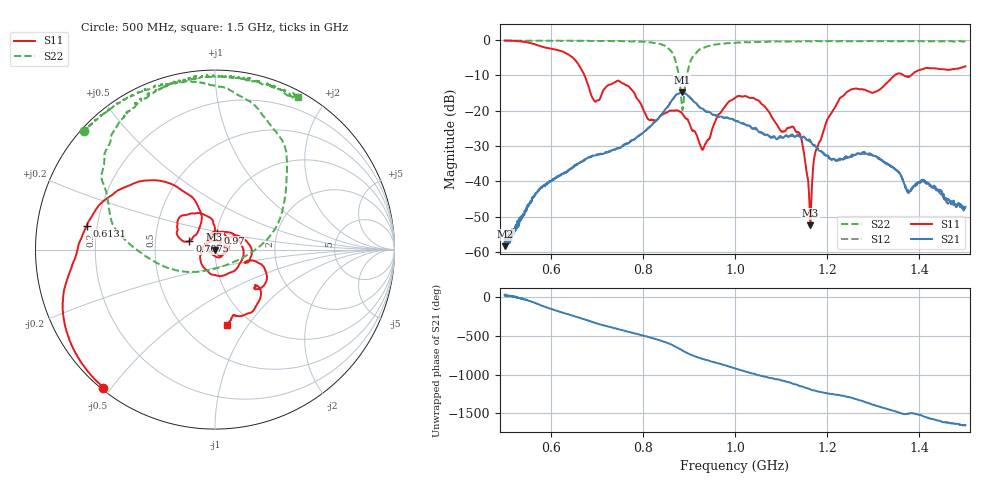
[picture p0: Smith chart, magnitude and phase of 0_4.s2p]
!Agilent Technologies,E8364B,US42250235,A.06.04.32
!Agilent E8364B: A.06.04.32
!Date: Friday, January 15, 2021 13:49:57
!Correction: S11(Full 2 Port(1,2)) S21(Full 2 Port(1,2)) S12(Full 2 Port(1,2)) S22(Full 2 Port(1,2))
!S2P File: Measurements: S11, S21, S12, S22:
# Hz S  dB  R 50
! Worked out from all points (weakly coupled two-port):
!   1601 points, 500 MHz to 1.5 GHz, reference 50 ohm
!   highest |S21| = -14.81 dB at 885 MHz (marker M1); lowest = -58.4 dB at 501.2 MHz (marker M2)
!   lowest |S11| = -52.5 dB at 1.164 GHz (marker M3), VSWR 1.00, Z = 49.8 + j0.0357 ohm
!   |S11| at or under -10 dB: 673.5 MHz to 1.346 GHz (672.8 MHz wide, 66.6 % of centre); 1.366 GHz to 1.382 GHz (15.64 MHz wide, 1.14 % of centre)
!   |S22| runs from -19.8 to -0.1 dB; largest |S21 - S12| = 0.0047
!   S11 on the Smith chart (normalised r, x): 500 MHz: 0.01, -0.48; 613.1 MHz: 0.16, +0.09; 707.5 MHz: 0.75, +0.07; 970 MHz: 1.01, +0.19; 1.5 GHz: 0.78, -0.80
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5e8  -0.10 -129.0  -57.49 25.1  -56.40 23.1  -0.16 137.9
5.0125e8  -0.10 -129.4  -58.38 29.4  -56.76 26.5  -0.17 137.7
6.13125e8  -2.75 169.4  -38.91 -179.7  -38.71 -178.1  -0.15 127.4
6.66875e8  -8.36 119.5  -34.48 81.3  -34.43 81.9  -0.18 121.3
7.075e8  -16.47 161.4  -32.31 5.1  -32.24 5.7  -0.24 116.5
7.4875e8  -11.60 133.6  -30.61 -60.7  -30.59 -59.7  -0.24 110.1
8.3375e8  -22.25 114.8  -22.17 166.1  -22.12 166.3  -0.94 85.1
8.6625e8  -19.94 75.6  -16.54 94.3  -16.50 95.2  -4.13 49.7
8.85e8  -20.69 36.4  -14.81 33.3  -14.80 34.1  -19.02 -46.3
9.05e8  -25.00 -23.5  -16.57 -27.3  -16.63 -27.0  -5.50 171.5
9.29375e8  -31.01 -142.5  -19.44 -77.0  -19.57 -76.8  -2.32 144.9
9.7e8  -20.37 81.6  -21.59 -146.4  -21.77 -145.9  -1.04 127.1
1e9  -16.36 6.6  -22.83 158.3  -22.75 159.7  -0.78 118.9
1.138125e9  -26.10 -37.2  -26.92 -62.0  -27.16 -59.2  -0.34 100.4
1.16375e9  -52.47 171.3  -28.46 -112.6  -28.87 -108.8  -0.34 98.4
1.166875e9  -41.38 97.5  -29.23 -118.8  -29.17 -114.4  -0.37 97.2
1.176875e9  -31.03 57.6  -30.22 -133.1  -30.45 -131.1  -0.23 96.6
1.22625e9  -16.70 32.5  -33.57 176.0  -34.07 175.1  -0.31 90.7
1.33375e9  -11.63 -17.2  -35.21 -8.8  -35.43 -6.1  -0.28 80.7
1.37625e9  -10.53 -41.4  -42.69 -60.2  -43.37 -63.7  -0.29 76.2
1.410625e9  -8.05 -55.9  -39.87 -102.4  -40.17 -104.0  -0.31 71.9
1.5e9  -7.41 -81.1  -47.25 147.6  -47.39 146.0  -0.31 61.5
